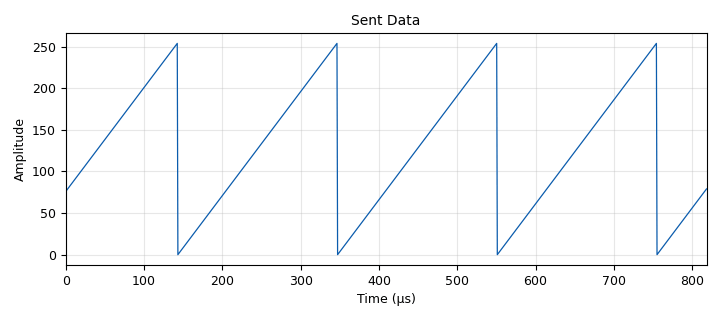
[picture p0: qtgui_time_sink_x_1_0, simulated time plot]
<?xml version='1.0' encoding='utf-8'?>
<?grc format='1' created='3.7.11'?>
<flow_graph>
<block>
<key>options</key>
<param><key>id</key><value>uhd_dpsk_mod</value></param>
<param><key>author</key><value>Example</value></param>
<param><key>category</key><value>Custom</value></param>
<param><key>description</key><value>Generate a DPSK signal</value></param>
<param><key>generate_options</key><value>qt_gui</value></param>
<param><key>title</key><value>UHD DPSK Modulation</value></param>
</block>
<block>
<key>variable_qtgui_range</key>
<param><key>id</key><value>ampl</value></param>
<param><key>value</key><value>0.1</value></param>
<param><key>label</key><value>Amplitude</value></param>
<param><key>orient</key><value>Qt.Horizontal</value></param>
<param><key>start</key><value>0</value></param>
<param><key>step</key><value>0.01</value></param>
<param><key>stop</key><value>1</value></param>
</block>
<block>
<key>variable</key>
<param><key>id</key><value>nfilts</value></param>
<param><key>value</key><value>32</value></param>
</block>
<block>
<key>variable</key>
<param><key>id</key><value>rolloff</value></param>
<param><key>value</key><value>.35</value></param>
</block>
<block>
<key>variable_qtgui_range</key>
<param><key>id</key><value>rx_freq_off</value></param>
<param><key>value</key><value>0</value></param>
<param><key>label</key><value>Rx Freq Offset (Hz)</value></param>
<param><key>orient</key><value>Qt.Horizontal</value></param>
<param><key>start</key><value>-50e3</value></param>
<param><key>step</key><value>1</value></param>
<param><key>stop</key><value>50e3</value></param>
</block>
<block>
<key>variable</key>
<param><key>id</key><value>samps_per_sym</value></param>
<param><key>value</key><value>4</value></param>
</block>
<block>
<key>variable_qtgui_range</key>
<param><key>id</key><value>tun_freq</value></param>
<param><key>value</key><value>5e6</value></param>
<param><key>label</key><value>Freq (Hz)</value></param>
<param><key>orient</key><value>Qt.Horizontal</value></param>
<param><key>start</key><value>0</value></param>
<param><key>step</key><value>1</value></param>
<param><key>stop</key><value>60e6</value></param>
</block>
<block>
<key>variable_qtgui_range</key>
<param><key>id</key><value>tun_rx_gain</value></param>
<param><key>value</key><value>0</value></param>
<param><key>label</key><value>UHD Rx Gain</value></param>
<param><key>orient</key><value>Qt.Horizontal</value></param>
<param><key>start</key><value>0</value></param>
<param><key>step</key><value>1</value></param>
<param><key>stop</key><value>30</value></param>
</block>
<block>
<key>variable_qtgui_range</key>
<param><key>id</key><value>tun_tx_gain</value></param>
<param><key>value</key><value>0</value></param>
<param><key>label</key><value>UHD Tx Gain</value></param>
<param><key>orient</key><value>Qt.Horizontal</value></param>
<param><key>start</key><value>0</value></param>
<param><key>step</key><value>1</value></param>
<param><key>stop</key><value>30</value></param>
</block>
<block>
<key>parameter</key>
<param><key>id</key><value>address0</value></param>
<param><key>label</key><value>IP Address, Dev 0</value></param>
<param><key>type</key><value>string</value></param>
<param><key>value</key><value>"192.168.88.18"</value></param>
</block>
<block>
<key>blocks_multiply_const_vxx</key>
<param><key>id</key><value>blocks_multiply_const_vxx_0</value></param>
<param><key>const</key><value>ampl</value></param>
<param><key>type</key><value>complex</value></param>
</block>
<block>
<key>blocks_uchar_to_float</key>
<param><key>id</key><value>blocks_uchar_to_float_0</value></param>
</block>
<block>
<key>blocks_uchar_to_float</key>
<param><key>id</key><value>blocks_uchar_to_float_0_0</value></param>
</block>
<block>
<key>blocks_unpacked_to_packed_xx</key>
<param><key>id</key><value>blocks_unpacked_to_packed_xx_0</value></param>
<param><key>bits_per_chunk</key><value>1</value></param>
<param><key>endianness</key><value>gr.GR_LSB_FIRST</value></param>
<param><key>type</key><value>byte</value></param>
</block>
<block>
<key>blocks_vector_source_x</key>
<param><key>id</key><value>blocks_vector_source_x_0</value></param>
<param><key>type</key><value>byte</value></param>
<param><key>repeat</key><value>True</value></param>
<param><key>vector</key><value>range(255)</value></param>
</block>
<block>
<key>digital_dxpsk_demod</key>
<param><key>id</key><value>digital_dxpsk_demod_0</value></param>
<param><key>excess_bw</key><value>0.35</value></param>
<param><key>freq_bw</key><value>6.28/100.0</value></param>
<param><key>mod_code</key><value>"gray"</value></param>
<param><key>log</key><value>False</value></param>
<param><key>phase_bw</key><value>6.28/100.0</value></param>
<param><key>samples_per_symbol</key><value>samps_per_sym</value></param>
<param><key>sync_out</key><value>True</value></param>
<param><key>timing_bw</key><value>6.28/100.0</value></param>
<param><key>type</key><value>dqpsk</value></param>
<param><key>verbose</key><value>False</value></param>
</block>
<block>
<key>digital_dxpsk_mod</key>
<param><key>id</key><value>digital_dxpsk_mod_0</value></param>
<param><key>excess_bw</key><value>0.35</value></param>
<param><key>mod_code</key><value>"gray"</value></param>
<param><key>log</key><value>False</value></param>
<param><key>samples_per_symbol</key><value>samps_per_sym</value></param>
<param><key>type</key><value>dqpsk</value></param>
<param><key>verbose</key><value>False</value></param>
</block>
<block>
<key>parameter</key>
<param><key>id</key><value>freq_offset</value></param>
<param><key>label</key><value>Rx Frequency Offset</value></param>
<param><key>short_id</key><value>o</value></param>
<param><key>type</key><value>eng_float</value></param>
<param><key>value</key><value>0</value></param>
</block>
<block>
<key>import</key>
<param><key>id</key><value>import_0</value></param>
<param><key>import</key><value>from gnuradio import digital</value></param>
</block>
<block>
<key>qtgui_const_sink_x</key>
<param><key>id</key><value>qtgui_const_sink_x_0</value></param>
<param><key>size</key><value>1024</value></param>
<param><key>type</key><value>complex</value></param>
</block>
<block>
<key>qtgui_freq_sink_x</key>
<param><key>id</key><value>qtgui_freq_sink_x_0</value></param>
<param><key>bw</key><value>samp_rate</value></param>
<param><key>fc</key><value>tun_freq+rx_freq_off</value></param>
<param><key>fftsize</key><value>1024</value></param>
<param><key>legend</key><value>False</value></param>
<param><key>label1</key><value>Received Spectrum</value></param>
<param><key>name</key><value>Received Spectrum</value></param>
<param><key>showports</key><value>True</value></param>
<param><key>type</key><value>complex</value></param>
<param><key>wintype</key><value>firdes.WIN_BLACKMAN_hARRIS</value></param>
</block>
<block>
<key>qtgui_time_sink_x</key>
<param><key>id</key><value>qtgui_time_sink_x_0</value></param>
<param><key>autoscale</key><value>True</value></param>
<param><key>color1</key><value>"blue"</value></param>
<param><key>label1</key><value></value></param>
<param><key>color2</key><value>"red"</value></param>
<param><key>label2</key><value></value></param>
<param><key>name</key><value>Rx Time Signal</value></param>
<param><key>size</key><value>1024</value></param>
<param><key>srate</key><value>samp_rate</value></param>
<param><key>type</key><value>complex</value></param>
</block>
<block>
<key>qtgui_time_sink_x</key>
<param><key>id</key><value>qtgui_time_sink_x_1</value></param>
<param><key>autoscale</key><value>True</value></param>
<param><key>legend</key><value>False</value></param>
<param><key>color1</key><value>"blue"</value></param>
<param><key>label1</key><value></value></param>
<param><key>name</key><value>Received Data</value></param>
<param><key>size</key><value>1024</value></param>
<param><key>srate</key><value>samp_rate</value></param>
<param><key>type</key><value>float</value></param>
</block>
<block>
<key>qtgui_time_sink_x</key>
<param><key>id</key><value>qtgui_time_sink_x_1_0</value></param>
<param><key>autoscale</key><value>True</value></param>
<param><key>legend</key><value>False</value></param>
<param><key>color1</key><value>"blue"</value></param>
<param><key>label1</key><value></value></param>
<param><key>name</key><value>Sent Data</value></param>
<param><key>size</key><value>1024</value></param>
<param><key>srate</key><value>samp_rate</value></param>
<param><key>type</key><value>float</value></param>
</block>
<block>
<key>red_pitaya_wide_sink</key>
<param><key>id</key><value>red_pitaya_wide_sink_0</value></param>
<param><key>addr</key><value>str(address0)</value></param>
<param><key>freq</key><value>tun_freq</value></param>
<param><key>corr</key><value>0</value></param>
<param><key>mask</key><value>1</value></param>
<param><key>ptt</key><value>True</value></param>
<param><key>port</key><value>1001</value></param>
<param><key>rate</key><value>samp_rate</value></param>
</block>
<block>
<key>red_pitaya_wide_source</key>
<param><key>id</key><value>red_pitaya_wide_source_0</value></param>
<param><key>addr</key><value>str(address0)</value></param>
<param><key>freq</key><value>tun_freq</value></param>
<param><key>corr</key><value>0</value></param>
<param><key>mask</key><value>1</value></param>
<param><key>port</key><value>1001</value></param>
<param><key>rate</key><value>samp_rate</value></param>
</block>
<block>
<key>parameter</key>
<param><key>id</key><value>rx_gain</value></param>
<param><key>label</key><value>Default RX Gain</value></param>
<param><key>type</key><value>eng_float</value></param>
<param><key>value</key><value>0</value></param>
</block>
<block>
<key>parameter</key>
<param><key>id</key><value>samp_rate</value></param>
<param><key>label</key><value>Sample Rate</value></param>
<param><key>type</key><value>eng_float</value></param>
<param><key>value</key><value>1250000</value></param>
</block>
<block>
<key>parameter</key>
<param><key>id</key><value>tx_gain</value></param>
<param><key>label</key><value>Default TX Gain</value></param>
<param><key>type</key><value>eng_float</value></param>
<param><key>value</key><value>0</value></param>
</block>
<connection><source_block_id>blocks_multiply_const_vxx_0</source_block_id><sink_block_id>red_pitaya_wide_sink_0</sink_block_id><source_key>0</source_key><sink_key>0</sink_key></connection>
<connection><source_block_id>blocks_uchar_to_float_0</source_block_id><sink_block_id>qtgui_time_sink_x_1</sink_block_id><source_key>0</source_key><sink_key>0</sink_key></connection>
<connection><source_block_id>blocks_uchar_to_float_0_0</source_block_id><sink_block_id>qtgui_time_sink_x_1_0</sink_block_id><source_key>0</source_key><sink_key>0</sink_key></connection>
<connection><source_block_id>blocks_unpacked_to_packed_xx_0</source_block_id><sink_block_id>blocks_uchar_to_float_0</sink_block_id><source_key>0</source_key><sink_key>0</sink_key></connection>
<connection><source_block_id>blocks_vector_source_x_0</source_block_id><sink_block_id>blocks_uchar_to_float_0_0</sink_block_id><source_key>0</source_key><sink_key>0</sink_key></connection>
<connection><source_block_id>blocks_vector_source_x_0</source_block_id><sink_block_id>digital_dxpsk_mod_0</sink_block_id><source_key>0</source_key><sink_key>0</sink_key></connection>
<connection><source_block_id>digital_dxpsk_demod_0</source_block_id><sink_block_id>blocks_unpacked_to_packed_xx_0</sink_block_id><source_key>0</source_key><sink_key>0</sink_key></connection>
<connection><source_block_id>digital_dxpsk_mod_0</source_block_id><sink_block_id>blocks_multiply_const_vxx_0</sink_block_id><source_key>0</source_key><sink_key>0</sink_key></connection>
<connection><source_block_id>red_pitaya_wide_source_0</source_block_id><sink_block_id>digital_dxpsk_demod_0</sink_block_id><source_key>0</source_key><sink_key>0</sink_key></connection>
<connection><source_block_id>red_pitaya_wide_source_0</source_block_id><sink_block_id>qtgui_const_sink_x_0</sink_block_id><source_key>0</source_key><sink_key>0</sink_key></connection>
<connection><source_block_id>red_pitaya_wide_source_0</source_block_id><sink_block_id>qtgui_freq_sink_x_0</sink_block_id><source_key>0</source_key><sink_key>0</sink_key></connection>
<connection><source_block_id>red_pitaya_wide_source_0</source_block_id><sink_block_id>qtgui_time_sink_x_0</sink_block_id><source_key>0</source_key><sink_key>0</sink_key></connection>
</flow_graph>
